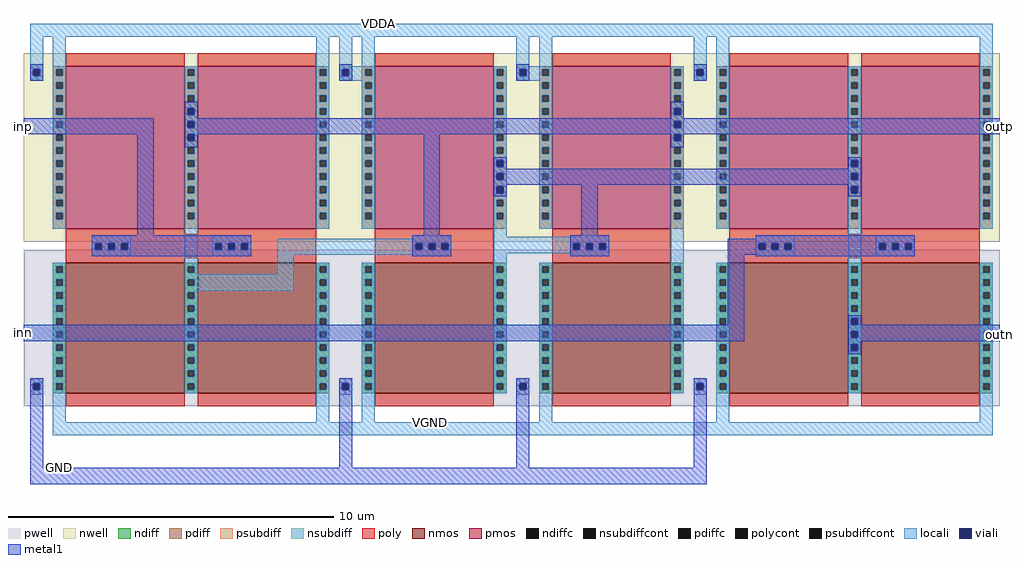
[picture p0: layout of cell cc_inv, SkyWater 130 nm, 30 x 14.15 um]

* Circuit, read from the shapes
.subckt cc_inv inp inn outp outn VGND VDDA GND
XM1 outp inp VGND GND sky130_fd_pr__nfet_01v8 w=4 l=3.65 m=2
XM2 outn outp VGND GND sky130_fd_pr__nfet_01v8 w=4 l=3.65
XM3 outp outn VGND GND sky130_fd_pr__nfet_01v8 w=4 l=3.65
XM4 outn inn VGND GND sky130_fd_pr__nfet_01v8 w=4 l=3.65 m=2
XM5 outp inp VDDA VDDA sky130_fd_pr__pfet_01v8 w=5 l=3.65 m=2
XM6 outn outp VDDA VDDA sky130_fd_pr__pfet_01v8 w=5 l=3.65
XM7 outp outn VDDA VDDA sky130_fd_pr__pfet_01v8 w=5 l=3.65
XM8 outn inn VDDA VDDA sky130_fd_pr__pfet_01v8 w=5 l=3.65 m=2
.ends

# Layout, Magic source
magic
tech sky130A
<< nwell >>
rect 375 985 395 1005
rect -45 925 130 975
rect 1645 905 1865 1025
rect 1900 925 1905 975
rect 2415 825 2435 845
rect 2415 785 2435 805
<< pwell >>
rect 2415 340 2435 360
rect 2415 300 2435 320
<< polycont >>
rect 1075 570 1095 590
rect 1115 570 1135 590
rect 1155 570 1175 590
rect 1560 570 1580 590
rect 1600 570 1620 590
rect 1640 570 1660 590
<< locali >>
rect 805 1225 2095 1265
rect 840 1140 880 1225
rect 910 1135 950 1225
rect 1385 1140 1425 1225
rect 1455 1135 1495 1225
rect 1455 1130 1475 1135
rect 1065 605 1185 615
rect 1550 610 1670 615
rect 650 590 1185 605
rect 650 570 1075 590
rect 1095 570 1115 590
rect 1135 570 1155 590
rect 1175 570 1185 590
rect 650 555 1185 570
rect 1355 590 1670 610
rect 1355 570 1560 590
rect 1580 570 1600 590
rect 1620 570 1640 590
rect 1660 570 1670 590
rect 1355 560 1670 570
rect 650 495 700 555
rect 1065 550 1185 555
rect 1550 550 1670 560
rect 405 445 700 495
rect 910 40 950 130
rect 1455 40 1495 130
rect 810 0 2000 40
<< viali >>
rect 375 985 395 1005
rect 1870 985 1890 1005
rect 375 945 395 965
rect 1870 945 1890 965
rect 375 905 395 925
rect 1870 905 1890 925
rect 1325 825 1345 845
rect 2415 825 2435 845
rect 1325 785 1345 805
rect 2415 785 2435 805
rect 1325 745 1345 765
rect 2415 745 2435 765
rect 1075 570 1095 590
rect 1115 570 1135 590
rect 1155 570 1175 590
rect 1560 570 1580 590
rect 1600 570 1620 590
rect 1640 570 1660 590
rect 2415 340 2435 360
rect 2415 300 2435 320
rect 2415 260 2435 280
<< metal1 >>
rect 365 1005 405 1025
rect 365 985 375 1005
rect 395 985 405 1005
rect 365 975 405 985
rect 1860 1005 1900 1025
rect 1860 985 1870 1005
rect 1890 985 1900 1005
rect 1860 975 1900 985
rect -130 925 270 975
rect 220 615 270 925
rect 365 965 2870 975
rect 365 945 375 965
rect 395 945 1870 965
rect 1890 945 2870 965
rect 365 925 2870 945
rect 365 905 375 925
rect 395 905 405 925
rect 365 885 405 905
rect 1100 615 1150 925
rect 1860 905 1870 925
rect 1890 905 1900 925
rect 1860 885 1900 905
rect 1315 845 1355 855
rect 1315 825 1325 845
rect 1345 825 1355 845
rect 1315 820 1355 825
rect 2405 845 2445 855
rect 2405 825 2415 845
rect 2435 825 2445 845
rect 2405 820 2445 825
rect 1315 805 2445 820
rect 1315 785 1325 805
rect 1345 785 2415 805
rect 2435 785 2445 805
rect 1315 770 2445 785
rect 1315 765 1355 770
rect 1315 745 1325 765
rect 1345 745 1355 765
rect 1315 735 1355 745
rect 1585 615 1635 770
rect 2405 765 2445 770
rect 2405 745 2415 765
rect 2435 745 2445 765
rect 2405 735 2445 745
rect 1065 590 1185 615
rect 1065 570 1075 590
rect 1095 570 1115 590
rect 1135 570 1155 590
rect 1175 570 1185 590
rect 1065 550 1185 570
rect 1550 590 1670 615
rect 1550 570 1560 590
rect 1580 570 1600 590
rect 1620 570 1640 590
rect 1660 570 1670 590
rect 1550 550 1670 570
rect 2035 555 2120 605
rect 2035 340 2085 555
rect -130 290 2085 340
rect 2405 360 2445 370
rect 2405 340 2415 360
rect 2435 340 2445 360
rect 2405 320 2870 340
rect 2405 300 2415 320
rect 2435 300 2870 320
rect 2405 290 2870 300
rect 2405 280 2445 290
rect 2405 260 2415 280
rect 2435 260 2445 280
rect 2405 250 2445 260
rect -110 -100 -70 125
rect 840 -100 880 125
rect 1385 -100 1425 125
rect 1930 -100 1970 125
rect -110 -150 1970 -100
use aux_inv  aux_inv_0
transform 1 0 950 0 1 640
box -130 -550 425 535
use aux_inv  aux_inv_1
transform 1 0 1495 0 1 640
box -130 -550 425 535
use main_inv  main_inv_0
transform 1 0 0 0 1 635
box -130 -635 830 630
use main_inv  main_inv_1
transform 1 0 2040 0 1 635
box -130 -635 830 630
<< labels >>
rlabel metal1 -130 950 -130 950 7 inp
port 1 w
rlabel metal1 -130 315 -130 315 7 inn
port 2 w
rlabel metal1 2870 950 2870 950 3 outp
port 3 e
rlabel metal1 2870 310 2870 310 3 outn
port 4 e
rlabel locali 1120 40 1120 40 1 VGND
port 5 n
rlabel locali 960 1265 960 1265 1 VDDA
port 6 n
rlabel metal1 -20 -100 -20 -100 1 GND
port 7 n
<< end >>

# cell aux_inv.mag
magic
tech sky130A
<< nwell >>
rect -130 -45 425 535
<< pwell >>
rect -130 -550 425 -70
<< nmos >>
rect 0 -510 365 -110
<< pmos >>
rect 0 -5 365 495
<< ndiff >>
rect -40 -120 0 -110
rect -40 -140 -30 -120
rect -10 -140 0 -120
rect -40 -160 0 -140
rect -40 -180 -30 -160
rect -10 -180 0 -160
rect -40 -200 0 -180
rect -40 -220 -30 -200
rect -10 -220 0 -200
rect -40 -240 0 -220
rect -40 -260 -30 -240
rect -10 -260 0 -240
rect -40 -280 0 -260
rect -40 -300 -30 -280
rect -10 -300 0 -280
rect -40 -320 0 -300
rect -40 -340 -30 -320
rect -10 -340 0 -320
rect -40 -360 0 -340
rect -40 -380 -30 -360
rect -10 -380 0 -360
rect -40 -400 0 -380
rect -40 -420 -30 -400
rect -10 -420 0 -400
rect -40 -440 0 -420
rect -40 -460 -30 -440
rect -10 -460 0 -440
rect -40 -480 0 -460
rect -40 -500 -30 -480
rect -10 -500 0 -480
rect -40 -510 0 -500
rect 365 -120 405 -110
rect 365 -140 375 -120
rect 395 -140 405 -120
rect 365 -160 405 -140
rect 365 -180 375 -160
rect 395 -180 405 -160
rect 365 -200 405 -180
rect 365 -220 375 -200
rect 395 -220 405 -200
rect 365 -240 405 -220
rect 365 -260 375 -240
rect 395 -260 405 -240
rect 365 -280 405 -260
rect 365 -300 375 -280
rect 395 -300 405 -280
rect 365 -320 405 -300
rect 365 -340 375 -320
rect 395 -340 405 -320
rect 365 -360 405 -340
rect 365 -380 375 -360
rect 395 -380 405 -360
rect 365 -400 405 -380
rect 365 -420 375 -400
rect 395 -420 405 -400
rect 365 -440 405 -420
rect 365 -460 375 -440
rect 395 -460 405 -440
rect 365 -480 405 -460
rect 365 -500 375 -480
rect 395 -500 405 -480
rect 365 -510 405 -500
<< pdiff >>
rect -40 485 0 495
rect -40 465 -30 485
rect -10 465 0 485
rect -40 445 0 465
rect -40 425 -30 445
rect -10 425 0 445
rect -40 405 0 425
rect -40 385 -30 405
rect -10 385 0 405
rect -40 365 0 385
rect -40 345 -30 365
rect -10 345 0 365
rect -40 325 0 345
rect -40 305 -30 325
rect -10 305 0 325
rect -40 285 0 305
rect -40 265 -30 285
rect -10 265 0 285
rect -40 245 0 265
rect -40 225 -30 245
rect -10 225 0 245
rect -40 205 0 225
rect -40 185 -30 205
rect -10 185 0 205
rect -40 165 0 185
rect -40 145 -30 165
rect -10 145 0 165
rect -40 125 0 145
rect -40 105 -30 125
rect -10 105 0 125
rect -40 85 0 105
rect -40 65 -30 85
rect -10 65 0 85
rect -40 45 0 65
rect -40 25 -30 45
rect -10 25 0 45
rect -40 -5 0 25
rect 365 485 405 495
rect 365 465 375 485
rect 395 465 405 485
rect 365 445 405 465
rect 365 425 375 445
rect 395 425 405 445
rect 365 405 405 425
rect 365 385 375 405
rect 395 385 405 405
rect 365 365 405 385
rect 365 345 375 365
rect 395 345 405 365
rect 365 325 405 345
rect 365 305 375 325
rect 395 305 405 325
rect 365 285 405 305
rect 365 265 375 285
rect 395 265 405 285
rect 365 245 405 265
rect 365 225 375 245
rect 395 225 405 245
rect 365 205 405 225
rect 365 185 375 205
rect 395 185 405 205
rect 365 165 405 185
rect 365 145 375 165
rect 395 145 405 165
rect 365 125 405 145
rect 365 105 375 125
rect 395 105 405 125
rect 365 85 405 105
rect 365 65 375 85
rect 395 65 405 85
rect 365 45 405 65
rect 365 25 375 45
rect 395 25 405 45
rect 365 -5 405 25
<< ndiffc >>
rect -30 -140 -10 -120
rect -30 -180 -10 -160
rect -30 -220 -10 -200
rect -30 -260 -10 -240
rect -30 -300 -10 -280
rect -30 -340 -10 -320
rect -30 -380 -10 -360
rect -30 -420 -10 -400
rect -30 -460 -10 -440
rect -30 -500 -10 -480
rect 375 -140 395 -120
rect 375 -180 395 -160
rect 375 -220 395 -200
rect 375 -260 395 -240
rect 375 -300 395 -280
rect 375 -340 395 -320
rect 375 -380 395 -360
rect 375 -420 395 -400
rect 375 -460 395 -440
rect 375 -500 395 -480
<< pdiffc >>
rect -30 465 -10 485
rect -30 425 -10 445
rect -30 385 -10 405
rect -30 345 -10 365
rect -30 305 -10 325
rect -30 265 -10 285
rect -30 225 -10 245
rect -30 185 -10 205
rect -30 145 -10 165
rect -30 105 -10 125
rect -30 65 -10 85
rect -30 25 -10 45
rect 375 465 395 485
rect 375 425 395 445
rect 375 385 395 405
rect 375 345 395 365
rect 375 305 395 325
rect 375 265 395 285
rect 375 225 395 245
rect 375 185 395 205
rect 375 145 395 165
rect 375 105 395 125
rect 375 65 395 85
rect 375 25 395 45
<< psubdiff >>
rect -110 -480 -70 -465
rect -110 -500 -100 -480
rect -80 -500 -70 -480
rect -110 -515 -70 -500
<< nsubdiff >>
rect -110 485 -70 500
rect -110 465 -100 485
rect -80 465 -70 485
rect -110 450 -70 465
<< psubdiffcont >>
rect -100 -500 -80 -480
<< nsubdiffcont >>
rect -100 465 -80 485
<< poly >>
rect 0 495 365 535
rect 0 -110 365 -5
rect 0 -550 365 -510
<< locali >>
rect -110 495 -70 500
rect -110 485 0 495
rect -110 465 -100 485
rect -80 465 -30 485
rect -10 465 0 485
rect -110 450 0 465
rect -40 445 0 450
rect -40 425 -30 445
rect -10 425 0 445
rect -40 405 0 425
rect -40 385 -30 405
rect -10 385 0 405
rect -40 365 0 385
rect -40 345 -30 365
rect -10 345 0 365
rect -40 325 0 345
rect -40 305 -30 325
rect -10 305 0 325
rect -40 285 0 305
rect -40 265 -30 285
rect -10 265 0 285
rect -40 245 0 265
rect -40 225 -30 245
rect -10 225 0 245
rect -40 205 0 225
rect -40 185 -30 205
rect -10 185 0 205
rect -40 165 0 185
rect -40 145 -30 165
rect -10 145 0 165
rect -40 125 0 145
rect -40 105 -30 125
rect -10 105 0 125
rect -40 85 0 105
rect -40 65 -30 85
rect -10 65 0 85
rect -40 45 0 65
rect -40 25 -30 45
rect -10 25 0 45
rect -40 -5 0 25
rect 365 485 405 495
rect 365 465 375 485
rect 395 465 405 485
rect 365 445 405 465
rect 365 425 375 445
rect 395 425 405 445
rect 365 405 405 425
rect 365 385 375 405
rect 395 385 405 405
rect 365 365 405 385
rect 365 345 375 365
rect 395 345 405 365
rect 365 325 405 345
rect 365 305 375 325
rect 395 305 405 325
rect 365 285 405 305
rect 365 265 375 285
rect 395 265 405 285
rect 365 245 405 265
rect 365 225 375 245
rect 395 225 405 245
rect 365 205 405 225
rect 365 185 375 205
rect 395 185 405 205
rect 365 165 405 185
rect 365 145 375 165
rect 395 145 405 165
rect 365 125 405 145
rect 365 105 375 125
rect 395 105 405 125
rect 365 85 405 105
rect 365 65 375 85
rect 395 65 405 85
rect 365 45 405 65
rect 365 25 375 45
rect 395 25 405 45
rect -40 -120 0 -110
rect -40 -140 -30 -120
rect -10 -140 0 -120
rect -40 -160 0 -140
rect -40 -180 -30 -160
rect -10 -180 0 -160
rect -40 -200 0 -180
rect -40 -220 -30 -200
rect -10 -220 0 -200
rect -40 -240 0 -220
rect -40 -260 -30 -240
rect -10 -260 0 -240
rect -40 -280 0 -260
rect -40 -300 -30 -280
rect -10 -300 0 -280
rect -40 -320 0 -300
rect -40 -340 -30 -320
rect -10 -340 0 -320
rect -40 -360 0 -340
rect -40 -380 -30 -360
rect -10 -380 0 -360
rect -40 -400 0 -380
rect -40 -420 -30 -400
rect -10 -420 0 -400
rect -40 -440 0 -420
rect -40 -460 -30 -440
rect -10 -460 0 -440
rect -110 -480 -70 -465
rect -110 -500 -100 -480
rect -80 -500 -70 -480
rect -110 -515 -70 -500
rect -40 -480 0 -460
rect -40 -500 -30 -480
rect -10 -500 0 -480
rect -40 -510 0 -500
rect 365 -120 405 25
rect 365 -140 375 -120
rect 395 -140 405 -120
rect 365 -160 405 -140
rect 365 -180 375 -160
rect 395 -180 405 -160
rect 365 -200 405 -180
rect 365 -220 375 -200
rect 395 -220 405 -200
rect 365 -240 405 -220
rect 365 -260 375 -240
rect 395 -260 405 -240
rect 365 -280 405 -260
rect 365 -300 375 -280
rect 395 -300 405 -280
rect 365 -320 405 -300
rect 365 -340 375 -320
rect 395 -340 405 -320
rect 365 -360 405 -340
rect 365 -380 375 -360
rect 395 -380 405 -360
rect 365 -400 405 -380
rect 365 -420 375 -400
rect 395 -420 405 -400
rect 365 -440 405 -420
rect 365 -460 375 -440
rect 395 -460 405 -440
rect 365 -480 405 -460
rect 365 -500 375 -480
rect 395 -500 405 -480
rect 365 -510 405 -500
<< viali >>
rect -100 465 -80 485
rect -100 -500 -80 -480
<< metal1 >>
rect -110 485 -70 500
rect -110 465 -100 485
rect -80 465 -70 485
rect -110 450 -70 465
rect -110 -480 -70 -465
rect -110 -500 -100 -480
rect -80 -500 -70 -480
rect -110 -515 -70 -500
<< labels >>
rlabel poly 0 -55 0 -55 7 A
port 1 w
rlabel locali 405 -60 405 -60 3 Y
port 2 e
rlabel locali -20 -510 -20 -510 5 VGND
port 3 s
rlabel metal1 -90 500 -90 500 1 VDDA
port 4 n
rlabel metal1 -90 -515 -90 -515 5 GND
port 5 s
<< end >>

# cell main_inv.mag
magic
tech sky130A
<< nwell >>
rect -130 -40 830 540
<< pwell >>
rect -130 -545 830 -65
<< nmos >>
rect 0 -505 365 -105
rect 405 -505 770 -105
<< pmos >>
rect 0 0 365 500
rect 405 0 770 500
<< ndiff >>
rect -40 -115 0 -105
rect -40 -135 -30 -115
rect -10 -135 0 -115
rect -40 -155 0 -135
rect -40 -175 -30 -155
rect -10 -175 0 -155
rect -40 -195 0 -175
rect -40 -215 -30 -195
rect -10 -215 0 -195
rect -40 -235 0 -215
rect -40 -255 -30 -235
rect -10 -255 0 -235
rect -40 -275 0 -255
rect -40 -295 -30 -275
rect -10 -295 0 -275
rect -40 -315 0 -295
rect -40 -335 -30 -315
rect -10 -335 0 -315
rect -40 -355 0 -335
rect -40 -375 -30 -355
rect -10 -375 0 -355
rect -40 -395 0 -375
rect -40 -415 -30 -395
rect -10 -415 0 -395
rect -40 -435 0 -415
rect -40 -455 -30 -435
rect -10 -455 0 -435
rect -40 -475 0 -455
rect -40 -495 -30 -475
rect -10 -495 0 -475
rect -40 -505 0 -495
rect 365 -115 405 -105
rect 365 -135 375 -115
rect 395 -135 405 -115
rect 365 -155 405 -135
rect 365 -175 375 -155
rect 395 -175 405 -155
rect 365 -195 405 -175
rect 365 -215 375 -195
rect 395 -215 405 -195
rect 365 -235 405 -215
rect 365 -255 375 -235
rect 395 -255 405 -235
rect 365 -275 405 -255
rect 365 -295 375 -275
rect 395 -295 405 -275
rect 365 -315 405 -295
rect 365 -335 375 -315
rect 395 -335 405 -315
rect 365 -355 405 -335
rect 365 -375 375 -355
rect 395 -375 405 -355
rect 365 -395 405 -375
rect 365 -415 375 -395
rect 395 -415 405 -395
rect 365 -435 405 -415
rect 365 -455 375 -435
rect 395 -455 405 -435
rect 365 -475 405 -455
rect 365 -495 375 -475
rect 395 -495 405 -475
rect 365 -505 405 -495
rect 770 -115 810 -105
rect 770 -135 780 -115
rect 800 -135 810 -115
rect 770 -155 810 -135
rect 770 -175 780 -155
rect 800 -175 810 -155
rect 770 -195 810 -175
rect 770 -215 780 -195
rect 800 -215 810 -195
rect 770 -235 810 -215
rect 770 -255 780 -235
rect 800 -255 810 -235
rect 770 -275 810 -255
rect 770 -295 780 -275
rect 800 -295 810 -275
rect 770 -315 810 -295
rect 770 -335 780 -315
rect 800 -335 810 -315
rect 770 -355 810 -335
rect 770 -375 780 -355
rect 800 -375 810 -355
rect 770 -395 810 -375
rect 770 -415 780 -395
rect 800 -415 810 -395
rect 770 -435 810 -415
rect 770 -455 780 -435
rect 800 -455 810 -435
rect 770 -475 810 -455
rect 770 -495 780 -475
rect 800 -495 810 -475
rect 770 -505 810 -495
<< pdiff >>
rect -40 490 0 500
rect -40 470 -30 490
rect -10 470 0 490
rect -40 450 0 470
rect -40 430 -30 450
rect -10 430 0 450
rect -40 410 0 430
rect -40 390 -30 410
rect -10 390 0 410
rect -40 370 0 390
rect -40 350 -30 370
rect -10 350 0 370
rect -40 330 0 350
rect -40 310 -30 330
rect -10 310 0 330
rect -40 290 0 310
rect -40 270 -30 290
rect -10 270 0 290
rect -40 250 0 270
rect -40 230 -30 250
rect -10 230 0 250
rect -40 210 0 230
rect -40 190 -30 210
rect -10 190 0 210
rect -40 170 0 190
rect -40 150 -30 170
rect -10 150 0 170
rect -40 130 0 150
rect -40 110 -30 130
rect -10 110 0 130
rect -40 90 0 110
rect -40 70 -30 90
rect -10 70 0 90
rect -40 50 0 70
rect -40 30 -30 50
rect -10 30 0 50
rect -40 0 0 30
rect 365 490 405 500
rect 365 470 375 490
rect 395 470 405 490
rect 365 450 405 470
rect 365 430 375 450
rect 395 430 405 450
rect 365 410 405 430
rect 365 390 375 410
rect 395 390 405 410
rect 365 370 405 390
rect 365 350 375 370
rect 395 350 405 370
rect 365 330 405 350
rect 365 310 375 330
rect 395 310 405 330
rect 365 290 405 310
rect 365 270 375 290
rect 395 270 405 290
rect 365 250 405 270
rect 365 230 375 250
rect 395 230 405 250
rect 365 210 405 230
rect 365 190 375 210
rect 395 190 405 210
rect 365 170 405 190
rect 365 150 375 170
rect 395 150 405 170
rect 365 130 405 150
rect 365 110 375 130
rect 395 110 405 130
rect 365 90 405 110
rect 365 70 375 90
rect 395 70 405 90
rect 365 50 405 70
rect 365 30 375 50
rect 395 30 405 50
rect 365 0 405 30
rect 770 490 810 500
rect 770 470 780 490
rect 800 470 810 490
rect 770 450 810 470
rect 770 430 780 450
rect 800 430 810 450
rect 770 410 810 430
rect 770 390 780 410
rect 800 390 810 410
rect 770 370 810 390
rect 770 350 780 370
rect 800 350 810 370
rect 770 330 810 350
rect 770 310 780 330
rect 800 310 810 330
rect 770 290 810 310
rect 770 270 780 290
rect 800 270 810 290
rect 770 250 810 270
rect 770 230 780 250
rect 800 230 810 250
rect 770 210 810 230
rect 770 190 780 210
rect 800 190 810 210
rect 770 170 810 190
rect 770 150 780 170
rect 800 150 810 170
rect 770 130 810 150
rect 770 110 780 130
rect 800 110 810 130
rect 770 90 810 110
rect 770 70 780 90
rect 800 70 810 90
rect 770 50 810 70
rect 770 30 780 50
rect 800 30 810 50
rect 770 0 810 30
<< ndiffc >>
rect -30 -135 -10 -115
rect -30 -175 -10 -155
rect -30 -215 -10 -195
rect -30 -255 -10 -235
rect -30 -295 -10 -275
rect -30 -335 -10 -315
rect -30 -375 -10 -355
rect -30 -415 -10 -395
rect -30 -455 -10 -435
rect -30 -495 -10 -475
rect 375 -135 395 -115
rect 375 -175 395 -155
rect 375 -215 395 -195
rect 375 -255 395 -235
rect 375 -295 395 -275
rect 375 -335 395 -315
rect 375 -375 395 -355
rect 375 -415 395 -395
rect 375 -455 395 -435
rect 375 -495 395 -475
rect 780 -135 800 -115
rect 780 -175 800 -155
rect 780 -215 800 -195
rect 780 -255 800 -235
rect 780 -295 800 -275
rect 780 -335 800 -315
rect 780 -375 800 -355
rect 780 -415 800 -395
rect 780 -455 800 -435
rect 780 -495 800 -475
<< pdiffc >>
rect -30 470 -10 490
rect -30 430 -10 450
rect -30 390 -10 410
rect -30 350 -10 370
rect -30 310 -10 330
rect -30 270 -10 290
rect -30 230 -10 250
rect -30 190 -10 210
rect -30 150 -10 170
rect -30 110 -10 130
rect -30 70 -10 90
rect -30 30 -10 50
rect 375 470 395 490
rect 375 430 395 450
rect 375 390 395 410
rect 375 350 395 370
rect 375 310 395 330
rect 375 270 395 290
rect 375 230 395 250
rect 375 190 395 210
rect 375 150 395 170
rect 375 110 395 130
rect 375 70 395 90
rect 375 30 395 50
rect 780 470 800 490
rect 780 430 800 450
rect 780 390 800 410
rect 780 350 800 370
rect 780 310 800 330
rect 780 270 800 290
rect 780 230 800 250
rect 780 190 800 210
rect 780 150 800 170
rect 780 110 800 130
rect 780 70 800 90
rect 780 30 800 50
<< psubdiff >>
rect -110 -475 -70 -460
rect -110 -495 -100 -475
rect -80 -495 -70 -475
rect -110 -510 -70 -495
<< nsubdiff >>
rect -110 490 -70 505
rect -110 470 -100 490
rect -80 470 -70 490
rect -110 455 -70 470
<< psubdiffcont >>
rect -100 -495 -80 -475
<< nsubdiffcont >>
rect -100 470 -80 490
<< poly >>
rect 0 500 365 540
rect 405 500 770 540
rect 0 -15 365 0
rect 405 -15 770 0
rect 0 -45 770 -15
rect 0 -65 90 -45
rect 110 -65 130 -45
rect 150 -65 170 -45
rect 190 -65 460 -45
rect 480 -65 500 -45
rect 520 -65 540 -45
rect 560 -65 770 -45
rect 0 -90 770 -65
rect 0 -105 365 -90
rect 405 -105 770 -90
rect 0 -545 365 -505
rect 405 -545 770 -505
<< polycont >>
rect 90 -65 110 -45
rect 130 -65 150 -45
rect 170 -65 190 -45
rect 460 -65 480 -45
rect 500 -65 520 -45
rect 540 -65 560 -45
<< locali >>
rect -110 590 810 630
rect -110 490 -70 590
rect -110 470 -100 490
rect -80 470 -70 490
rect -110 455 -70 470
rect -40 490 0 590
rect -40 470 -30 490
rect -10 470 0 490
rect -40 450 0 470
rect -40 430 -30 450
rect -10 430 0 450
rect -40 410 0 430
rect -40 390 -30 410
rect -10 390 0 410
rect -40 370 0 390
rect -40 350 -30 370
rect -10 350 0 370
rect -40 330 0 350
rect -40 310 -30 330
rect -10 310 0 330
rect -40 290 0 310
rect -40 270 -30 290
rect -10 270 0 290
rect -40 250 0 270
rect -40 230 -30 250
rect -10 230 0 250
rect -40 210 0 230
rect -40 190 -30 210
rect -10 190 0 210
rect -40 170 0 190
rect -40 150 -30 170
rect -10 150 0 170
rect -40 130 0 150
rect -40 110 -30 130
rect -10 110 0 130
rect -40 90 0 110
rect -40 70 -30 90
rect -10 70 0 90
rect -40 50 0 70
rect -40 30 -30 50
rect -10 30 0 50
rect -40 0 0 30
rect 365 490 405 500
rect 365 470 375 490
rect 395 470 405 490
rect 365 450 405 470
rect 365 430 375 450
rect 395 430 405 450
rect 365 410 405 430
rect 365 390 375 410
rect 395 390 405 410
rect 365 370 405 390
rect 365 350 375 370
rect 395 350 405 370
rect 365 330 405 350
rect 365 310 375 330
rect 395 310 405 330
rect 365 290 405 310
rect 365 270 375 290
rect 395 270 405 290
rect 365 250 405 270
rect 365 230 375 250
rect 395 230 405 250
rect 365 210 405 230
rect 365 190 375 210
rect 395 190 405 210
rect 365 170 405 190
rect 365 150 375 170
rect 395 150 405 170
rect 365 130 405 150
rect 365 110 375 130
rect 395 110 405 130
rect 365 90 405 110
rect 365 70 375 90
rect 395 70 405 90
rect 365 50 405 70
rect 365 30 375 50
rect 395 30 405 50
rect 80 -45 200 -20
rect 80 -65 90 -45
rect 110 -65 130 -45
rect 150 -65 170 -45
rect 190 -65 200 -45
rect 80 -85 200 -65
rect -40 -115 0 -105
rect -40 -135 -30 -115
rect -10 -135 0 -115
rect -40 -155 0 -135
rect -40 -175 -30 -155
rect -10 -175 0 -155
rect -40 -195 0 -175
rect -40 -215 -30 -195
rect -10 -215 0 -195
rect -40 -235 0 -215
rect -40 -255 -30 -235
rect -10 -255 0 -235
rect -40 -275 0 -255
rect -40 -295 -30 -275
rect -10 -295 0 -275
rect -40 -315 0 -295
rect -40 -335 -30 -315
rect -10 -335 0 -315
rect -40 -355 0 -335
rect -40 -375 -30 -355
rect -10 -375 0 -355
rect -40 -395 0 -375
rect -40 -415 -30 -395
rect -10 -415 0 -395
rect -40 -435 0 -415
rect -40 -455 -30 -435
rect -10 -455 0 -435
rect -110 -475 -70 -460
rect -110 -495 -100 -475
rect -80 -495 -70 -475
rect -110 -510 -70 -495
rect -40 -475 0 -455
rect -40 -495 -30 -475
rect -10 -495 0 -475
rect -40 -595 0 -495
rect 365 -115 405 30
rect 770 490 810 590
rect 770 470 780 490
rect 800 470 810 490
rect 770 450 810 470
rect 770 430 780 450
rect 800 430 810 450
rect 770 410 810 430
rect 770 390 780 410
rect 800 390 810 410
rect 770 370 810 390
rect 770 350 780 370
rect 800 350 810 370
rect 770 330 810 350
rect 770 310 780 330
rect 800 310 810 330
rect 770 290 810 310
rect 770 270 780 290
rect 800 270 810 290
rect 770 250 810 270
rect 770 230 780 250
rect 800 230 810 250
rect 770 210 810 230
rect 770 190 780 210
rect 800 190 810 210
rect 770 170 810 190
rect 770 150 780 170
rect 800 150 810 170
rect 770 130 810 150
rect 770 110 780 130
rect 800 110 810 130
rect 770 90 810 110
rect 770 70 780 90
rect 800 70 810 90
rect 770 50 810 70
rect 770 30 780 50
rect 800 30 810 50
rect 770 0 810 30
rect 450 -45 570 -20
rect 450 -65 460 -45
rect 480 -65 500 -45
rect 520 -65 540 -45
rect 560 -65 570 -45
rect 450 -85 570 -65
rect 365 -135 375 -115
rect 395 -135 405 -115
rect 365 -155 405 -135
rect 365 -175 375 -155
rect 395 -175 405 -155
rect 365 -195 405 -175
rect 365 -215 375 -195
rect 395 -215 405 -195
rect 365 -235 405 -215
rect 365 -255 375 -235
rect 395 -255 405 -235
rect 365 -275 405 -255
rect 365 -295 375 -275
rect 395 -295 405 -275
rect 365 -315 405 -295
rect 365 -335 375 -315
rect 395 -335 405 -315
rect 365 -355 405 -335
rect 365 -375 375 -355
rect 395 -375 405 -355
rect 365 -395 405 -375
rect 365 -415 375 -395
rect 395 -415 405 -395
rect 365 -435 405 -415
rect 365 -455 375 -435
rect 395 -455 405 -435
rect 365 -475 405 -455
rect 365 -495 375 -475
rect 395 -495 405 -475
rect 365 -505 405 -495
rect 770 -115 810 -105
rect 770 -135 780 -115
rect 800 -135 810 -115
rect 770 -155 810 -135
rect 770 -175 780 -155
rect 800 -175 810 -155
rect 770 -195 810 -175
rect 770 -215 780 -195
rect 800 -215 810 -195
rect 770 -235 810 -215
rect 770 -255 780 -235
rect 800 -255 810 -235
rect 770 -275 810 -255
rect 770 -295 780 -275
rect 800 -295 810 -275
rect 770 -315 810 -295
rect 770 -335 780 -315
rect 800 -335 810 -315
rect 770 -355 810 -335
rect 770 -375 780 -355
rect 800 -375 810 -355
rect 770 -395 810 -375
rect 770 -415 780 -395
rect 800 -415 810 -395
rect 770 -435 810 -415
rect 770 -455 780 -435
rect 800 -455 810 -435
rect 770 -475 810 -455
rect 770 -495 780 -475
rect 800 -495 810 -475
rect 770 -595 810 -495
rect -40 -635 810 -595
<< viali >>
rect -100 470 -80 490
rect 90 -65 110 -45
rect 130 -65 150 -45
rect 170 -65 190 -45
rect -100 -495 -80 -475
rect 460 -65 480 -45
rect 500 -65 520 -45
rect 540 -65 560 -45
<< metal1 >>
rect -110 490 -70 505
rect -110 470 -100 490
rect -80 470 -70 490
rect -110 455 -70 470
rect 80 -45 570 -20
rect 80 -65 90 -45
rect 110 -65 130 -45
rect 150 -65 170 -45
rect 190 -65 460 -45
rect 480 -65 500 -45
rect 520 -65 540 -45
rect 560 -65 570 -45
rect 80 -85 570 -65
rect -110 -475 -70 -460
rect -110 -495 -100 -475
rect -80 -495 -70 -475
rect -110 -510 -70 -495
<< labels >>
rlabel locali -20 -635 -20 -635 5 VGND
port 3 s
rlabel metal1 -90 -510 -90 -510 5 GND
port 4 s
rlabel locali -70 630 -70 630 1 VDDA
port 5 n
rlabel metal1 80 -54 80 -54 7 A
port 1 w
rlabel locali 385 -505 385 -505 5 Y
port 2 s
<< end >>
